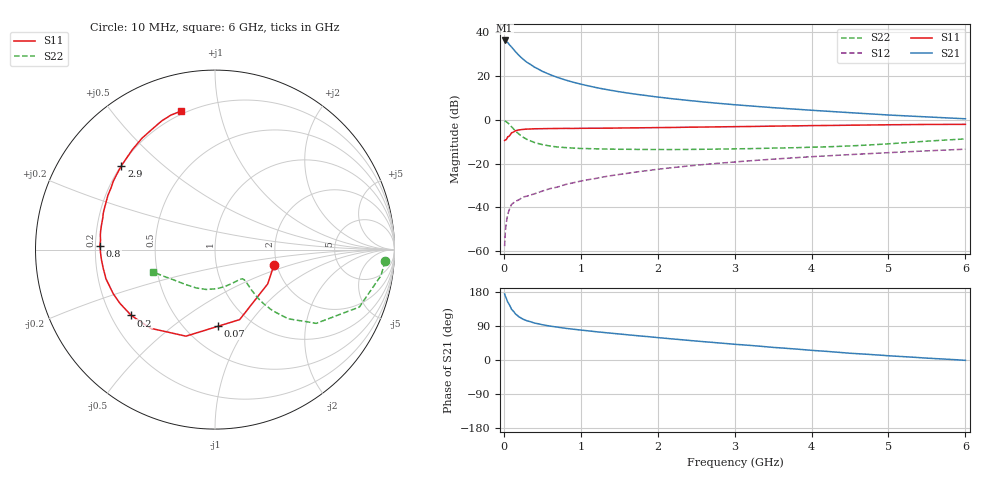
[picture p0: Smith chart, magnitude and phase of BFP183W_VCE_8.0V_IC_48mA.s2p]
! Infineon Technologies  Discrete & RF Semiconductors
! BFP183W
! VCE =  8.0 V,  IC =  48 mA
! Common Emitter S-Parameters:  Jan 2017
# GHz  S  MA  R  50
!  f  S11  S21  S12  S22
! GHz  MAG  ANG  MAG  ANG  MAG  ANG  MAG  ANG
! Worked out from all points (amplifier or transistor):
!   77 points, 10 MHz to 6 GHz, reference 50 ohm
!   highest |S21| = 36.4 dB at 10 MHz (marker M1)
!   |S21| within 3 dB of that: start of sweep to 100.2 MHz
!   unconditionally stable (mu >= 1): 689.9 MHz to 3.339 GHz
!   at 130 MHz: K = 0.37, MSG = 35.0 dB, |S12| = -37.8 dB
!   at 2.2 GHz: K = 1.07, MAG = 14.1 dB, |S12| = -21.8 dB
!   at 6 GHz: K = 0.85, MSG = 7.0 dB, |S12| = -13.4 dB
!   S11 on the Smith chart (normalised r, x): 10 MHz: 1.93, -0.38; 70 MHz: 0.71, -0.74; 200 MHz: 0.28, -0.32; 800 MHz: 0.22, +0.01; 2.9 GHz: 0.20, +0.37; 6 GHz: 0.18, +0.77
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0.01  0.3395 -14.9  65.69 174.4  0.0013 77.6  0.9499 -3.9
0.02  0.3504 -33.0  64.67 168.3  0.0029 91.4  0.9361 -8.9
0.05  0.4135 -70.6  58.76 153.2  0.0069 67.1  0.8657 -21.7
0.07  0.4273 -87.7  53.19 146.6  0.0088 62.9  0.7927 -26.7
0.1  0.5089 -108.6  46.55 133.9  0.0117 59.1  0.6975 -36.1
0.15  0.5664 -129.3  36.6 121.8  0.0137 51.8  0.5605 -43.4
0.2  0.5935 -141.8  29.47 113.5  0.0151 49.9  0.4681 -46.7
0.25  0.6085 -150.5  24.5 107.7  0.0173 51.0  0.4038 -48.1
0.3  0.618 -156.5  20.84 103.5  0.0181 50.3  0.3591 -48.5
0.4  0.6289 -165.0  16.04 97.4  0.0205 55.3  0.3036 -47.9
0.5  0.6314 -170.6  12.95 93.1  0.0236 56.7  0.2731 -47.0
0.6  0.6352 -175.0  10.88 89.5  0.0269 59.0  0.2533 -46.3
0.7  0.6381 -178.6  9.348 86.6  0.0293 60.9  0.2404 -45.9
0.8  0.6413 178.2  8.211 83.7  0.0334 63.4  0.2334 -46.0
1.1  0.6457 170.6  6.005 76.9  0.0432 65.3  0.2211 -47.9
1.5  0.6543 162.2  4.417 68.7  0.0567 65.6  0.2135 -53.2
2.1  0.671 151.1  3.188 57.3  0.078 64.6  0.2108 -65.9
2.9  0.699 138.3  2.308 43.3  0.1059 60.9  0.2171 -87.0
3.1  0.7055 135.4  2.161 40.1  0.1129 59.8  0.2195 -92.4
4.1  0.7446 122.0  1.624 24.1  0.1477 53.6  0.2402 -119.3
5.1  0.7783 111.6  1.271 10.0  0.1821 47.0  0.2925 -145.8
6  0.7942 103.7  1.063 -0.9  0.2144 40.5  0.3686 -160.5
